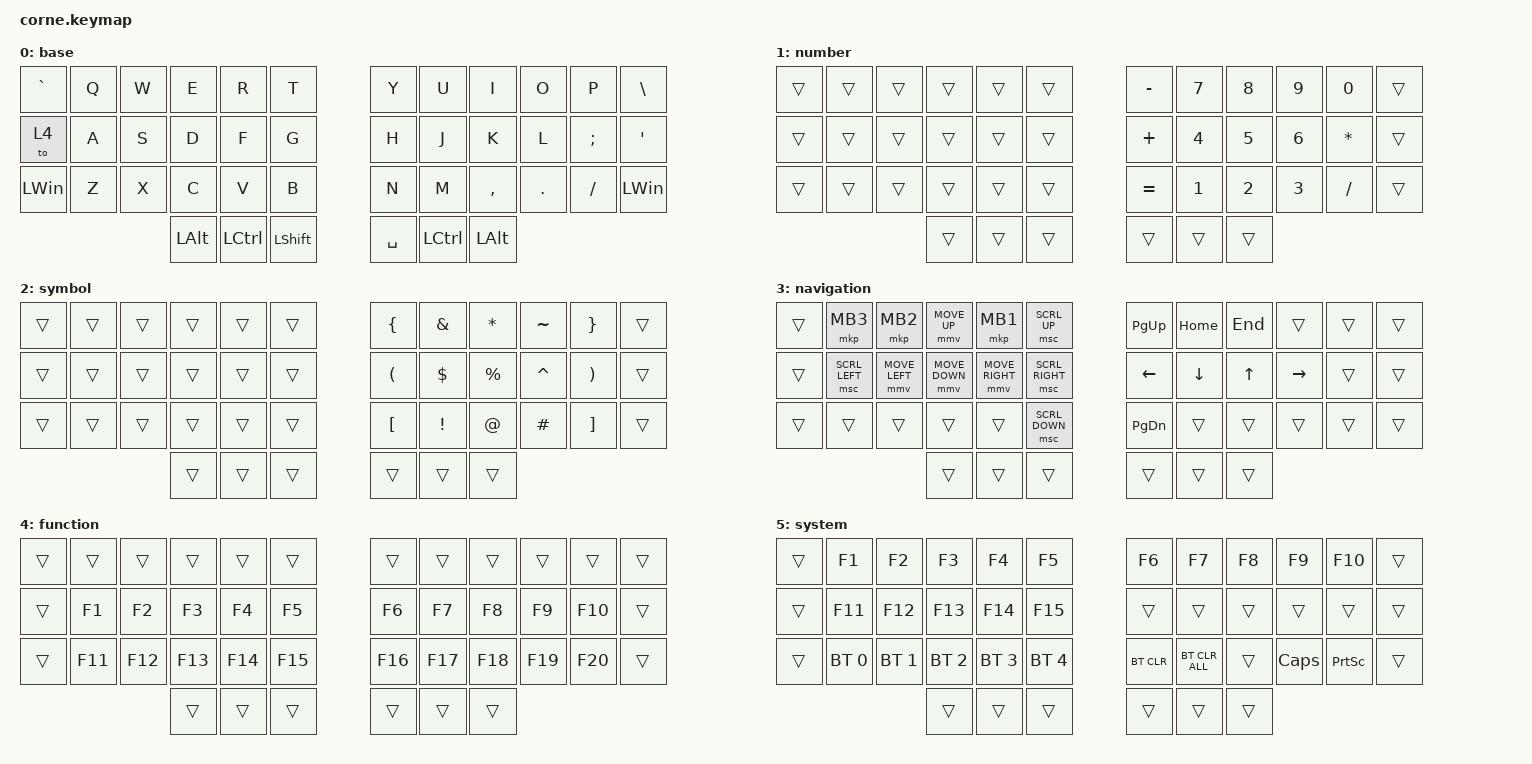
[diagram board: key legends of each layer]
/*
 * Copyright (c) 2020 The ZMK Contributors
 *
 * SPDX-License-Identifier: MIT
 */

#include <behaviors.dtsi>
#include <dt-bindings/zmk/bt.h>
#include <dt-bindings/zmk/keys.h>
#include <dt-bindings/zmk/pointing.h>

/ {
    combos {
        compatible = "zmk,combos";

        esc {
            bindings = <&kp ESCAPE>;
            key-positions = <15 16>;
        };

        tab {
            bindings = <&kp TAB>;
            key-positions = <27 28>;
        };

        back {
            bindings = <&kp BACKSPACE>;
            key-positions = <20 21>;
        };

        return {
            bindings = <&kp RET>;
            key-positions = <20 19>;
        };

        del {
            bindings = <&kp DEL>;
            key-positions = <32 33>;
        };

        L_num {
            bindings = <&mo 1>;
            key-positions = <15 14>;
        };

        L_sym {
            bindings = <&mo 2>;
            key-positions = <26 27>;
        };

        L_nav {
            bindings = <&mo 3>;
            key-positions = <37 40>;
        };

        L_sys {
            bindings = <&tog 5>;
            key-positions = <24 35>;
        };

        L_func {
            bindings = <&mo 4>;
            key-positions = <41 36>;
        };
    };

    keymap {
        compatible = "zmk,keymap";

        base {
            // -----------------------------------------------------------------------------------------
            // |  TAB |  Q  |  W  |  E  |  R  |  T  |   |  Y  |  U   |  I  |  O  |  P  | BKSP |
            // | CTRL |  A  |  S  |  D  |  F  |  G  |   |  H  |  J   |  K  |  L  |  ;  |  '   |
            // | SHFT |  Z  |  X  |  C  |  V  |  B  |   |  N  |  M   |  ,  |  .  |  /  | ESC  |
            //                    | GUI | LWR | SPC |   | ENT | RSE  | ALT |

            bindings = <
&kp GRAVE     &kp Q  &kp W  &kp E         &kp R      &kp T             &kp Y      &kp U             &kp I         &kp O    &kp P     &kp BACKSLASH
&to 4         &kp A  &kp S  &kp D         &kp F      &kp G             &kp H      &kp J             &kp K         &kp L    &kp SEMI  &kp SQT
&kp LEFT_WIN  &kp Z  &kp X  &kp C         &kp V      &kp B             &kp N      &kp M             &kp COMMA     &kp DOT  &kp FSLH  &kp LEFT_WIN
                            &kp LEFT_ALT  &kp LCTRL  &kp LEFT_SHIFT    &kp SPACE  &kp LEFT_CONTROL  &kp LEFT_ALT
            >;
        };

        number {
            bindings = <
&trans  &trans  &trans  &trans  &trans  &trans    &kp MINUS  &kp N7  &kp N8  &kp N9  &kp N0     &trans
&trans  &trans  &trans  &trans  &trans  &trans    &kp PLUS   &kp N4  &kp N5  &kp N6  &kp STAR   &trans
&trans  &trans  &trans  &trans  &trans  &trans    &kp EQUAL  &kp N1  &kp N2  &kp N3  &kp SLASH  &trans
                        &trans  &trans  &trans    &trans     &trans  &trans
            >;
        };

        symbol {
            bindings = <
&trans  &trans  &trans  &trans  &trans  &trans    &kp LEFT_BRACE        &kp AMPERSAND  &kp ASTERISK  &kp TILDE  &kp RIGHT_BRACE        &trans
&trans  &trans  &trans  &trans  &trans  &trans    &kp LEFT_PARENTHESIS  &kp DOLLAR     &kp PERCENT   &kp CARET  &kp RIGHT_PARENTHESIS  &trans
&trans  &trans  &trans  &trans  &trans  &trans    &kp LBKT              &kp EXCL       &kp AT        &kp HASH   &kp RBKT               &trans
                        &trans  &trans  &trans    &trans                &trans         &trans
            >;
        };

        navigation {
            bindings = <
&trans  &mkp MB3        &mkp MB2        &mmv MOVE_UP    &mkp MB1         &msc SCRL_UP       &kp PG_UP  &kp HOME  &kp END  &trans     &trans  &trans
&trans  &msc SCRL_LEFT  &mmv MOVE_LEFT  &mmv MOVE_DOWN  &mmv MOVE_RIGHT  &msc SCRL_RIGHT    &kp LEFT   &kp DOWN  &kp UP   &kp RIGHT  &trans  &trans
&trans  &trans          &trans          &trans          &trans           &msc SCRL_DOWN     &kp PG_DN  &trans    &trans   &trans     &trans  &trans
                                        &trans          &trans           &trans             &trans     &trans    &trans
            >;
        };

        function {
            bindings = <
&trans  &trans   &trans   &trans   &trans   &trans     &trans   &trans   &trans   &trans   &trans   &trans
&trans  &kp F1   &kp F2   &kp F3   &kp F4   &kp F5     &kp F6   &kp F7   &kp F8   &kp F9   &kp F10  &trans
&trans  &kp F11  &kp F12  &kp F13  &kp F14  &kp F15    &kp F16  &kp F17  &kp F18  &kp F19  &kp F20  &trans
                          &trans   &trans   &trans     &trans   &trans   &trans
            >;
        };

        system {
            bindings = <
&trans  &kp F1        &kp F2        &kp F3        &kp F4        &kp F5          &kp F6      &kp F7          &kp F8  &kp F9        &kp F10          &trans
&trans  &kp F11       &kp F12       &kp F13       &kp F14       &kp F15         &trans      &trans          &trans  &trans        &trans           &trans
&trans  &bt BT_SEL 0  &bt BT_SEL 1  &bt BT_SEL 2  &bt BT_SEL 3  &bt BT_SEL 4    &bt BT_CLR  &bt BT_CLR_ALL  &trans  &kp CAPSLOCK  &kp PRINTSCREEN  &trans
                                    &trans        &trans        &trans          &trans      &trans          &trans
            >;
        };
    };

    conditional_layers { compatible = "zmk,conditional-layers"; };
};
